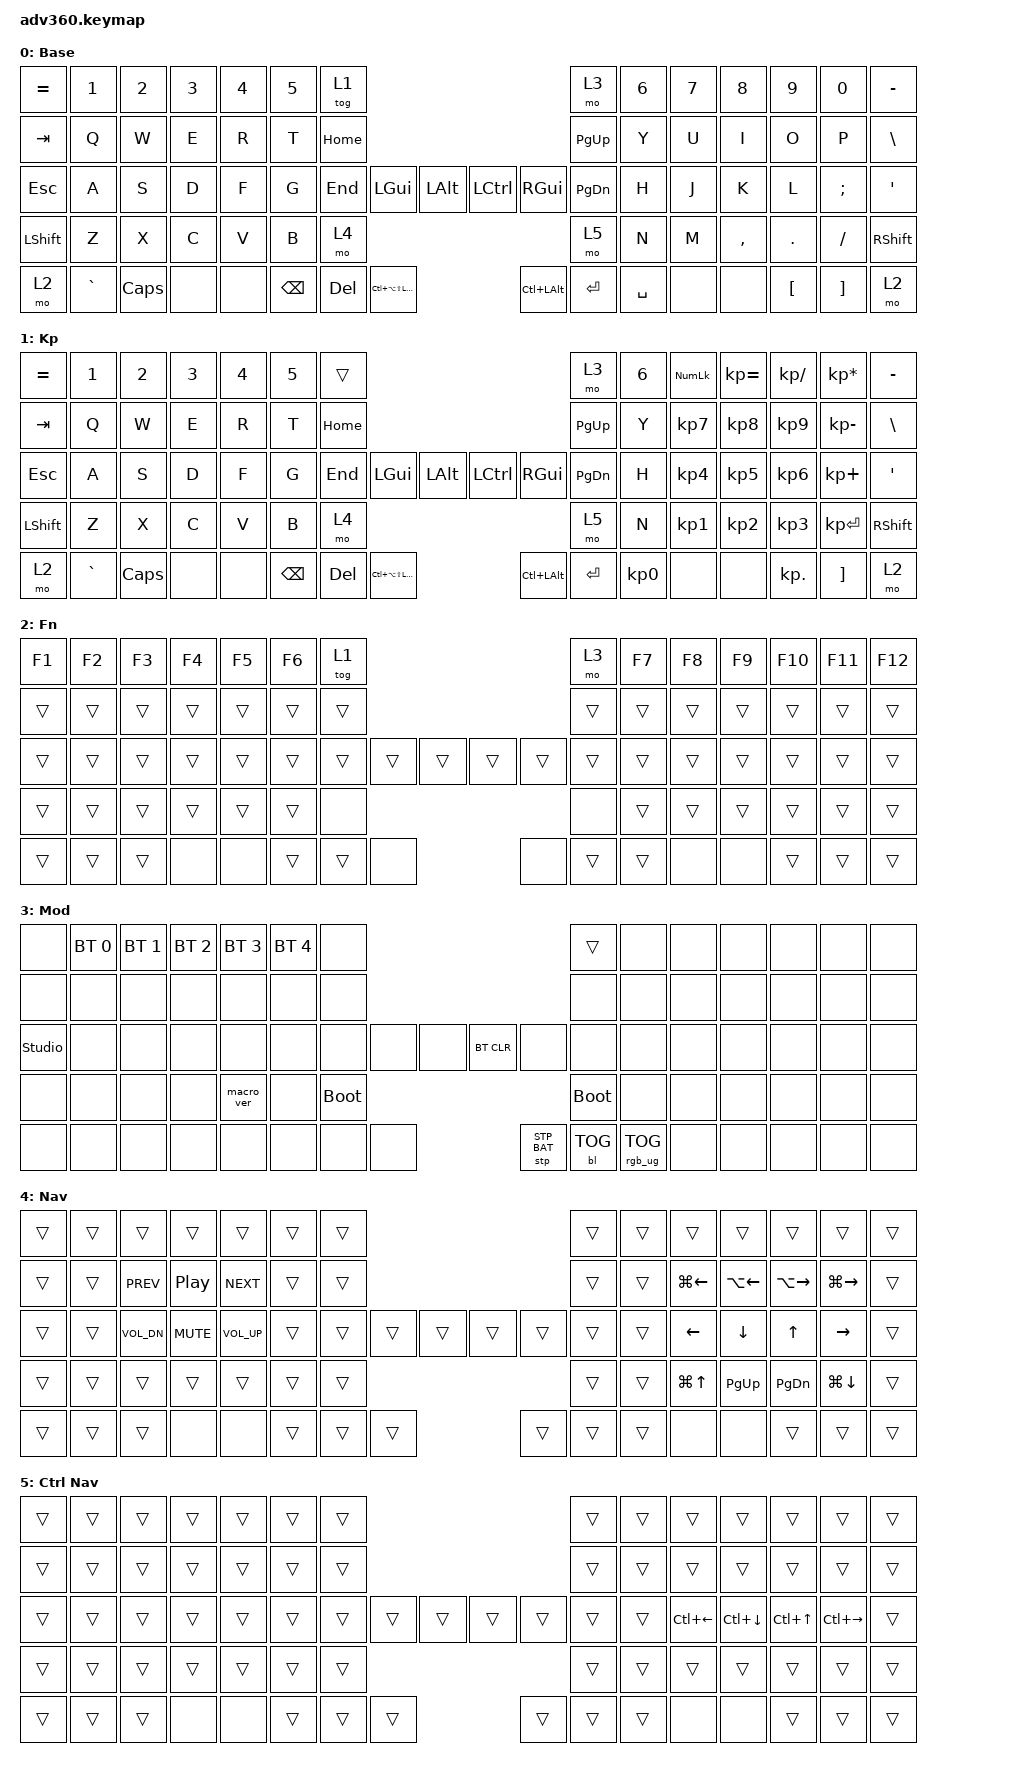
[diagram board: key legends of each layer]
#include <behaviors.dtsi>
#include <dt-bindings/zmk/keys.h>
#include <dt-bindings/zmk/bt.h>
#include <dt-bindings/zmk/rgb.h>
#include <dt-bindings/zmk/stp.h>
#include <dt-bindings/zmk/backlight.h>
#include <dt-bindings/zmk/pointing.h>

/ {
    behaviors {
      #include "macros.dtsi"
      #include "version.dtsi"

      hm: homerow_mods {
          compatible = "zmk,behavior-hold-tap";
          label = "HOMEROW_MODS";
          #binding-cells = <2>;
          tapping-term-ms = <200>;
          quick_tap_ms = <175>;
          flavor = "tap-preferred";
          bindings = <&kp>, <&kp>;
      };
    };

  keymap {
    compatible = "zmk,keymap";

    // Inner keys beside T/G/Y/H are Home/End/Page Up/Page Down.
    // Their former thumb positions now carry hotkeys 1/2/3/4 on every layer.
    // Thumb hotkey 4 holds Ctrl+Option; add this as Wispr Flow's push-to-talk shortcut.
    // The four dedicated arrow-key positions are disabled on every layer.
    default_layer {
      display-name = "Base";
      bindings = <
        &kp EQUAL &kp N1    &kp N2   &kp N3   &kp N4     &kp N5 &tog 1                                                           &mo 3 &kp N6 &kp N7 &kp N8    &kp N9   &kp N0   &kp MINUS
        &kp TAB   &kp Q     &kp W    &kp E    &kp R      &kp T  &kp HOME                                                         &kp PG_UP &kp Y &kp U &kp I   &kp O    &kp P    &kp BSLH
        &kp ESC   &kp A     &kp S    &kp D    &kp F      &kp G  &kp END        &kp LGUI &kp LALT &kp LCTRL &kp RGUI               &kp PG_DN &kp H &kp J &kp K   &kp L    &kp SEMI &kp SQT
        &kp LSHFT &kp Z     &kp X    &kp C    &kp V      &kp B                            &mo 4 &mo 5                                 &kp N  &kp M  &kp COMMA &kp DOT  &kp FSLH &kp RSHFT
        &mo 2     &kp GRAVE &kp CAPS &none    &none                    &kp BSPC &kp DEL &kp LC(LA(LS(LGUI))) &kp LC(LALT) &kp ENTER &kp SPACE   &none  &none     &kp LBKT &kp RBKT &mo 2
      >;
    };
    keypad {
      display-name = "Kp";
      bindings = <
        &kp EQUAL &kp N1    &kp N2   &kp N3   &kp N4     &kp N5 &trans                                                           &mo 3 &kp N6 &kp KP_NUM &kp KP_EQUAL &kp KP_DIVIDE &kp KP_MULTIPLY &kp MINUS
        &kp TAB   &kp Q     &kp W    &kp E    &kp R      &kp T  &kp HOME                                                         &kp PG_UP &kp Y &kp KP_N7 &kp KP_N8 &kp KP_N9    &kp KP_MINUS    &kp BSLH
        &kp ESC   &kp A     &kp S    &kp D    &kp F      &kp G  &kp END        &kp LGUI &kp LALT &kp LCTRL &kp RGUI               &kp PG_DN &kp H &kp KP_N4 &kp KP_N5 &kp KP_N6    &kp KP_PLUS     &kp SQT
        &kp LSHFT &kp Z     &kp X    &kp C    &kp V      &kp B                            &mo 4 &mo 5                                 &kp N  &kp KP_N1  &kp KP_N2    &kp KP_N3     &kp KP_ENTER    &kp RSHFT
        &mo 2     &kp GRAVE &kp CAPS &none    &none                    &kp BSPC &kp DEL &kp LC(LA(LS(LGUI))) &kp LC(LALT) &kp ENTER &kp KP_N0   &none      &none        &kp KP_DOT    &kp RBKT        &mo 2
      >;
    };
    fn {
      display-name = "Fn";
      bindings = <
        &kp F1 &kp F2 &kp F3 &kp F4 &kp F5 &kp F6 &tog 1                                           &mo 3 &kp F7 &kp F8 &kp F9 &kp F10 &kp F11 &kp F12
        &trans &trans &trans &trans &trans &trans  &trans                                          &trans &trans &trans &trans &trans  &trans  &trans
        &trans &trans &trans &trans &trans &trans  &trans       &trans &trans &trans &trans        &trans &trans &trans &trans &trans  &trans  &trans
        &trans &trans &trans &trans &trans &trans                      &none &none                       &trans &trans &trans &trans  &trans  &trans
        &trans &trans &trans &none  &none                &trans &trans &none &none &trans &trans                &none  &none  &trans  &trans  &trans
      >;
    };
    mod {
      display-name = "Mod";
      bindings = <
        &none &bt BT_SEL 0 &bt BT_SEL 1 &bt BT_SEL 2 &bt BT_SEL 3 &bt BT_SEL 4 &none                                                                     &trans                 &none        &none        &none        &none &none &none
        &none &none        &none        &none        &none        &none        &none                                                                     &none                  &none        &none        &none        &none &none &none
        &studio_unlock &none        &none        &none        &none        &none        &none                   &none &none &bt BT_CLR &none                      &none        &none        &none        &none        &none &none &none
        &none &none        &none        &none        &macro_ver   &none                                      &bootloader &bootloader                                            &none        &none        &none        &none &none &none
        &none &none        &none        &none        &none                                       &none &none &none &stp STP_BAT &bl BL_TOG &rgb_ug RGB_TOG                                    &none        &none        &none &none &none
      >;
    };
    nav {
      display-name = "Nav";
      // Hold thumb hotkey 1 (former Home) for navigation and media.
      // W/E/R = media, S/D/F = volume, J/K/L/semicolon = arrows.
      // U/P = line start/end, I/O = word left/right, comma/dot = page up/down,
      // M/slash = document start/end. Hold Shift as well to select text.
      bindings = <
        &trans &trans       &trans           &trans       &trans &trans &trans                                                &trans &trans       &trans       &trans    &trans        &trans        &trans
        &trans &trans &kp C_PREV   &kp C_PLAY_PAUSE &kp C_NEXT   &trans &trans                                                &trans &trans &kp LG(LEFT) &kp LA(LEFT) &kp LA(RIGHT) &kp LG(RIGHT) &trans
        &trans &trans &kp C_VOL_DN &kp C_MUTE       &kp C_VOL_UP &trans &trans           &trans &trans &trans &trans           &trans &trans &kp LEFT     &kp DOWN     &kp UP        &kp RIGHT     &trans
        &trans &trans       &trans           &trans       &trans &trans                        &trans &trans                        &trans &kp LG(UP)   &kp PG_UP    &kp PG_DN     &kp LG(DOWN)  &trans
        &trans &trans       &trans           &none        &none                 &trans &trans &trans &trans &trans &trans                        &none        &none     &trans        &trans        &trans
      >;
    };

    ctrl_nav {
      display-name = "Ctrl Nav";
      // Hold thumb hotkey 3 (former Page Up): J/K/L/semicolon = Ctrl+arrows.
      bindings = <
        &trans &trans &trans &trans &trans &trans &trans                                  &trans &trans &trans      &trans      &trans    &trans       &trans
        &trans &trans &trans &trans &trans &trans &trans                                  &trans &trans &trans      &trans      &trans    &trans       &trans
        &trans &trans &trans &trans &trans &trans &trans       &trans &trans &trans &trans &trans &trans &kp LC(LEFT) &kp LC(DOWN) &kp LC(UP) &kp LC(RIGHT) &trans
        &trans &trans &trans &trans &trans &trans                    &trans &trans               &trans &trans      &trans      &trans    &trans       &trans
        &trans &trans &trans &none  &none              &trans &trans &trans &trans &trans &trans        &none       &none       &trans    &trans       &trans
      >;
    };

    extra3 { 
      display-name = "Cyan";    
      status = "reserved";
    };

    extra4 { 
      display-name = "Yellow";    
      status = "reserved";
    };
  };
};
